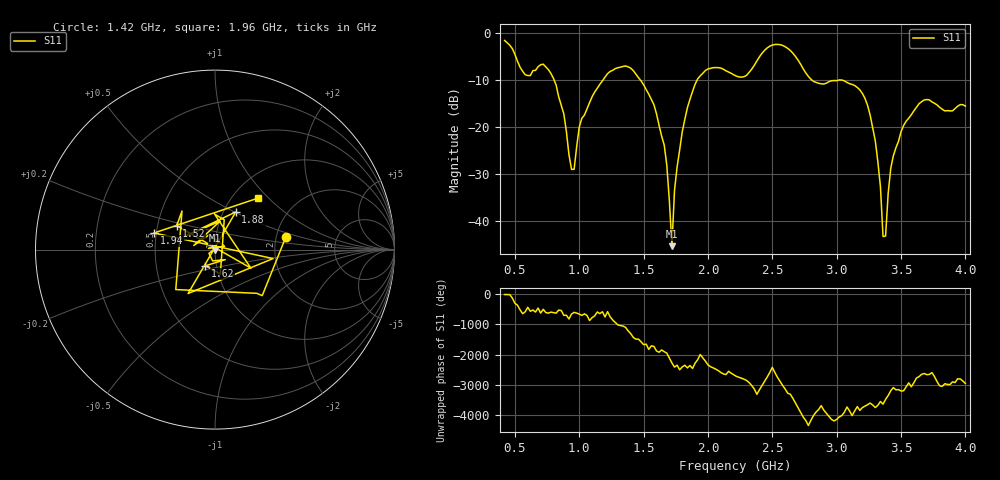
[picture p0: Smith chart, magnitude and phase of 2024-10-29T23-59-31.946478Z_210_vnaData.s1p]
!Created with skrf (http://scikit-rf.org).
# Hz S RI R 50.0
!freq ReS11 ImS11
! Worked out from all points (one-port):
!   180 points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, 420 MHz to 4 GHz, reference 50 ohm
!   lowest |S11| = -45.4 dB at 1.72 GHz (marker M1), VSWR 1.01, Z = 49.8 - j0.473 ohm
!   |S11| at or under -10 dB: 805.5 MHz to 1.183 GHz (377.6 MHz wide, 38 % of centre); 1.477 GHz to 1.915 GHz (438.1 MHz wide, 25.8 % of centre); 3.046 GHz to end of sweep (the widest 3 of 4)
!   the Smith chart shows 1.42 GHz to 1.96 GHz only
!   S11 on the Smith chart (normalised r, x): 1.42 GHz: 2.26, +0.38; 1.52 GHz: 0.63, +0.18; 1.62 GHz: 0.88, -0.16; 1.88 GHz: 1.14, +0.51; 1.94 GHz: 0.49, +0.10; 1.96 GHz: 1.31, +0.87
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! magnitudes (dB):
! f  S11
! 420 MHz  -1.5
! 580 MHz  -8.8
! 760 MHz  -7.7
! 880 MHz  -17.2
! 960 MHz  -29.0
! 1.02 GHz  -18.1
! 1.32 GHz  -7.2
! 1.42 GHz  -7.9
! 1.52 GHz  -12.0
! 1.62 GHz  -19.6
! 1.68 GHz  -28.1
! 1.72 GHz  -45.4
! 1.74 GHz  -33.5
! 1.78 GHz  -24.9
! 1.88 GHz  -12.4
! 1.94 GHz  -9.1
! 1.96 GHz  -8.5
! 2.22 GHz  -9.1
! 2.66 GHz  -4.2
! 2.82 GHz  -10.2
! 3.12 GHz  -10.9
! 3.26 GHz  -17.4
! 3.32 GHz  -27.4
! 3.36 GHz  -43.4
! 3.38 GHz  -43.3
! 3.44 GHz  -26.1
! 3.56 GHz  -18.1
! 4 GHz  -15.5
